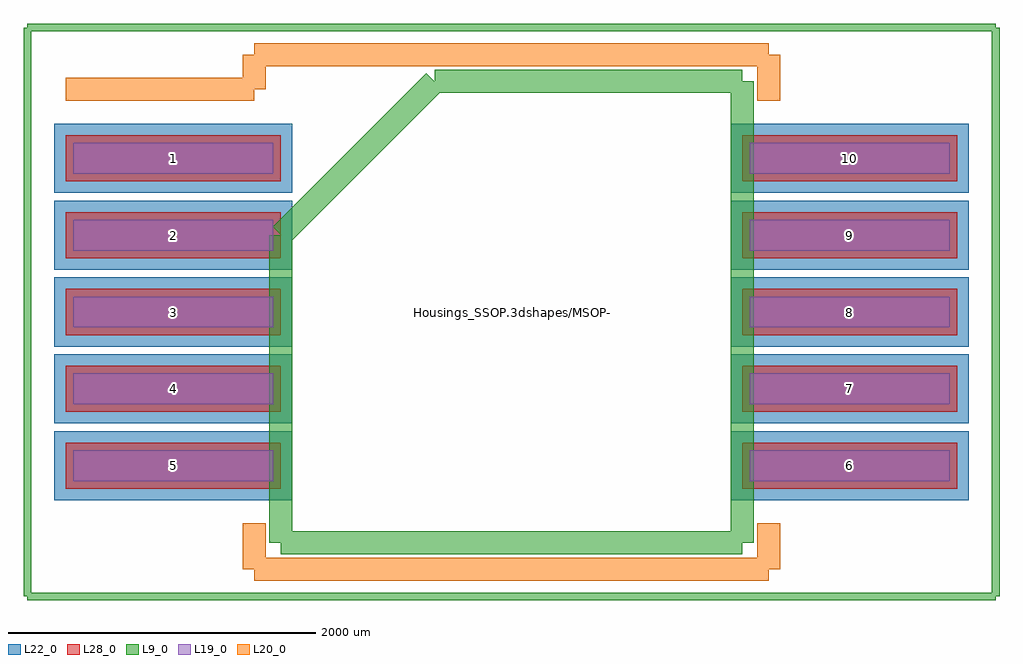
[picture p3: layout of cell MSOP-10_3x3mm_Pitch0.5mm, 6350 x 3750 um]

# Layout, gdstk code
import gdstk
lib = gdstk.Library(unit=1e-6, precision=1e-09)
def R(c, l, rs):  # rectangles x0, y0, x1, y1
    for r in rs: c.add(gdstk.rectangle(r[:2], r[2:], *l))
def A(c, l, x, y, w, h, nx, ny, dx, dy):  # array of equal rectangles
    R(c, l, [(x+i*dx, y+j*dy, x+i*dx+w, y+j*dy+h) for i in range(nx) for j in range(ny)])
L9_0 = (9, 0)
L19_0 = (19, 0)
L20_0 = (20, 0)
L22_0 = (22, 0)
L28_0 = (28, 0)

msop_10_3x3mm_pitch0_5mm = lib.new_cell('MSOP-10_3x3mm_Pitch0.5mm')
A(msop_10_3x3mm_pitch0_5mm, L19_0, -2850, -1100, 1300, 200, 1, 5, 0, 500)
A(msop_10_3x3mm_pitch0_5mm, L19_0, 1550, -1100, 1300, 200, 1, 5, 0, 500)
A(msop_10_3x3mm_pitch0_5mm, L22_0, -2975, -1225, 1550, 450, 1, 5, 0, 500)
A(msop_10_3x3mm_pitch0_5mm, L22_0, 1425, -1225, 1550, 450, 1, 5, 0, 500)
A(msop_10_3x3mm_pitch0_5mm, L28_0, -2900, -1150, 1400, 300, 1, 5, 0, 500)
A(msop_10_3x3mm_pitch0_5mm, L28_0, 1500, -1150, 1400, 300, 1, 5, 0, 500)
msop_10_3x3mm_pitch0_5mm.add(gdstk.FlexPath([(-1675,1450),(-2900,1450)], 149.998, ends="flush", simple_path=True, layer=20, datatype=0))  # L20_0
msop_10_3x3mm_pitch0_5mm.add(gdstk.FlexPath([(-1675,-1675),(1675,-1675)], 149.998, ends="flush", simple_path=True, layer=20, datatype=0))  # L20_0
msop_10_3x3mm_pitch0_5mm.add(gdstk.FlexPath([(-1675,1675),(1675,1675)], 149.998, ends="flush", simple_path=True, layer=20, datatype=0))  # L20_0
msop_10_3x3mm_pitch0_5mm.add(gdstk.FlexPath([(-1675,-1675),(-1675,-1375)], 149.998, ends="flush", simple_path=True, layer=20, datatype=0))  # L20_0
msop_10_3x3mm_pitch0_5mm.add(gdstk.FlexPath([(1675,-1675),(1675,-1375)], 149.998, ends="flush", simple_path=True, layer=20, datatype=0))  # L20_0
msop_10_3x3mm_pitch0_5mm.add(gdstk.FlexPath([(1675,1675),(1675,1375)], 149.998, ends="flush", simple_path=True, layer=20, datatype=0))  # L20_0
msop_10_3x3mm_pitch0_5mm.add(gdstk.FlexPath([(-1675,1675),(-1675,1450)], 149.998, ends="flush", simple_path=True, layer=20, datatype=0))  # L20_0
msop_10_3x3mm_pitch0_5mm.add(gdstk.FlexPath([(-3150,-1850),(3150,-1850)], 50, ends="flush", simple_path=True, layer=9, datatype=0))  # L9_0
msop_10_3x3mm_pitch0_5mm.add(gdstk.FlexPath([(-3150,1850),(3150,1850)], 50, ends="flush", simple_path=True, layer=9, datatype=0))  # L9_0
msop_10_3x3mm_pitch0_5mm.add(gdstk.FlexPath([(3150,1850),(3150,-1850)], 50, ends="flush", simple_path=True, layer=9, datatype=0))  # L9_0
msop_10_3x3mm_pitch0_5mm.add(gdstk.FlexPath([(-3150,1850),(-3150,-1850)], 50, ends="flush", simple_path=True, layer=9, datatype=0))  # L9_0
msop_10_3x3mm_pitch0_5mm.add(gdstk.FlexPath([(-1500,500),(-500,1500)], 149.998, ends="flush", simple_path=True, layer=9, datatype=0))  # L9_0
msop_10_3x3mm_pitch0_5mm.add(gdstk.FlexPath([(-1500,-1500),(-1500,500)], 149.998, ends="flush", simple_path=True, layer=9, datatype=0))  # L9_0
msop_10_3x3mm_pitch0_5mm.add(gdstk.FlexPath([(1500,-1500),(-1500,-1500)], 149.998, ends="flush", simple_path=True, layer=9, datatype=0))  # L9_0
msop_10_3x3mm_pitch0_5mm.add(gdstk.FlexPath([(1500,1500),(1500,-1500)], 149.998, ends="flush", simple_path=True, layer=9, datatype=0))  # L9_0
msop_10_3x3mm_pitch0_5mm.add(gdstk.FlexPath([(-500,1500),(1500,1500)], 149.998, ends="flush", simple_path=True, layer=9, datatype=0))  # L9_0
msop_10_3x3mm_pitch0_5mm.add(gdstk.Label('Housings_SSOP.3dshapes/MSOP-10_3x3mm_Pitch0.5mm.wrl', (0,0), layer=12, texttype=0))
msop_10_3x3mm_pitch0_5mm.add(gdstk.Label('10', (2200,1000), layer=28, texttype=0))
msop_10_3x3mm_pitch0_5mm.add(gdstk.Label('9', (2200,500), layer=28, texttype=0))
msop_10_3x3mm_pitch0_5mm.add(gdstk.Label('8', (2200,0), layer=28, texttype=0))
msop_10_3x3mm_pitch0_5mm.add(gdstk.Label('7', (2200,-500), layer=28, texttype=0))
msop_10_3x3mm_pitch0_5mm.add(gdstk.Label('6', (2200,-1000), layer=28, texttype=0))
msop_10_3x3mm_pitch0_5mm.add(gdstk.Label('5', (-2200,-1000), layer=28, texttype=0))
msop_10_3x3mm_pitch0_5mm.add(gdstk.Label('4', (-2200,-500), layer=28, texttype=0))
msop_10_3x3mm_pitch0_5mm.add(gdstk.Label('3', (-2200,0), layer=28, texttype=0))
msop_10_3x3mm_pitch0_5mm.add(gdstk.Label('2', (-2200,500), layer=28, texttype=0))
msop_10_3x3mm_pitch0_5mm.add(gdstk.Label('1', (-2200,1000), layer=28, texttype=0))
msop_10_3x3mm_pitch0_5mm.add(gdstk.Label('type', (0,-2600), layer=9, texttype=0))
msop_10_3x3mm_pitch0_5mm.add(gdstk.Label('devicename', (0,2600), layer=9, texttype=0))

lib.write_gds('MSOP-10_3x3mm_Pitch0.5mm.gds')
